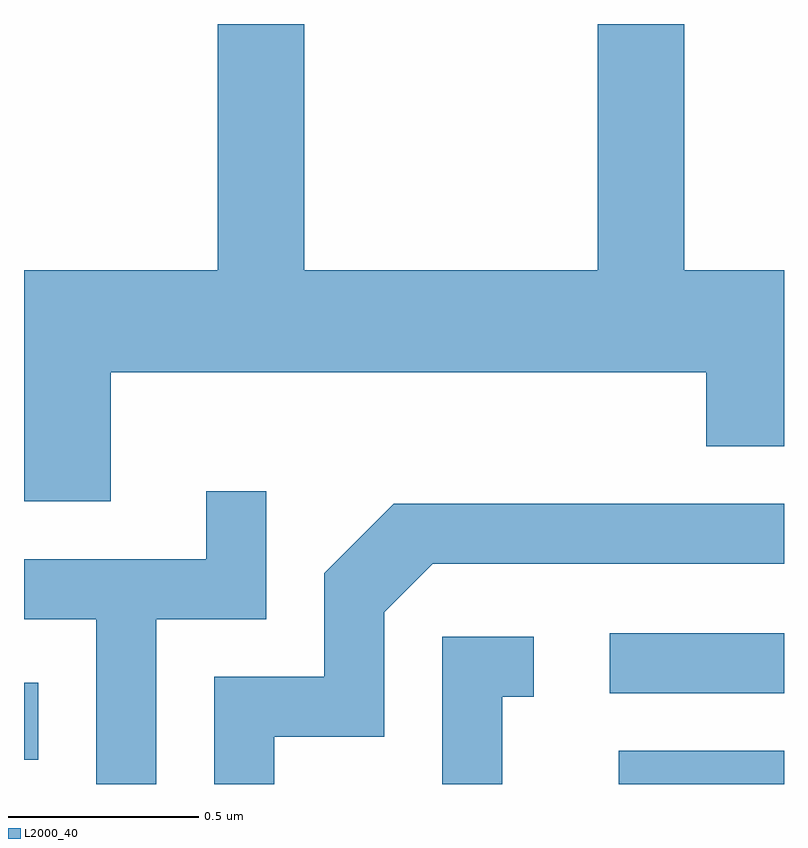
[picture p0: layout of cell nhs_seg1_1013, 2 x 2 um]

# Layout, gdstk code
import gdstk
lib = gdstk.Library(unit=1e-6, precision=1e-09)
def R(c, l, rs):  # rectangles x0, y0, x1, y1
    for r in rs: c.add(gdstk.rectangle(r[:2], r[2:], *l))
def P(c, l, *ps):  # polygons
    for p in ps: c.add(gdstk.Polygon(p, *l))
L2000_40 = (2000, 40)

nhs_seg1_1013 = lib.new_cell('nhs_seg1_1013')
R(nhs_seg1_1013, L2000_40, [(194.176,900.712,194.611,900.799), (192.611,900.776,192.649,900.979), (194.153,900.951,194.611,901.109)])
P(nhs_seg1_1013, L2000_40, [(192.839,901.796),(194.406,901.796),(194.406,901.601),(194.611,901.601),(194.611,902.064),(194.349,902.064),(194.349,902.712),(194.121,902.712),(194.121,902.064),(193.349,902.064),(193.349,902.712),(193.121,902.712),(193.121,902.064),(192.611,902.064),(192.611,901.456),(192.839,901.456)],
  [(192.959,901.146),(193.249,901.146),(193.249,901.483),(193.091,901.483),(193.091,901.304),(192.611,901.304),(192.611,901.146),(192.801,901.146),(192.801,900.712),(192.959,900.712)],
  [(193.269,900.836),(193.559,900.836),(193.559,901.164),(193.687,901.291),(194.611,901.291),(194.611,901.449),(193.584,901.449),(193.401,901.267),(193.401,900.994),(193.111,900.994),(193.111,900.712),(193.269,900.712)],
  [(193.869,900.941),(193.953,900.941),(193.953,901.099),(193.711,901.099),(193.711,900.712),(193.869,900.712)])

lib.write_gds('nhs_seg1_1013.gds')
